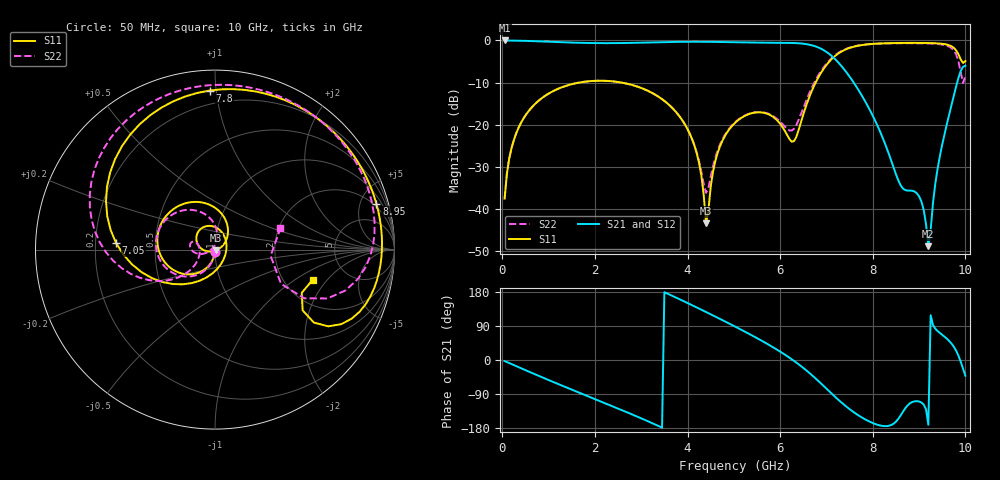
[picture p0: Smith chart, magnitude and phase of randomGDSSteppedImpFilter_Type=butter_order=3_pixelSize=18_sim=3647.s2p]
! freq	dB(S11)	phase(S11)	dB(S12)	phase(S12)
!  dB(S21)	phase(S21)	dB(S22)	phase(S22)
!S-par simulation data
#  GHz  S  DB  R 50
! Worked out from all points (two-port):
!   200 points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, 50 MHz to 10 GHz, reference 50 ohm
!   highest |S21| = -0.01 dB at 50 MHz (marker M1); lowest = -48.8 dB at 9.2 GHz (marker M2)
!   |S21| within 3 dB of the highest: start of sweep to 7.035 GHz
!   lowest |S11| = -43.4 dB at 4.4 GHz (marker M3), VSWR 1.01, Z = 50.5 - j0.472 ohm
!   |S11| at or under -10 dB: start of sweep to 1.657 GHz; 2.577 GHz to 6.767 GHz (4.189 GHz wide, 89.7 % of centre)
!   |S22| runs from -37.6 to -0.7 dB; largest |S21 - S12| = 0
!   S11 on the Smith chart (normalised r, x): 50 MHz: 1.00, -0.03; 7.05 GHz: 0.29, +0.03; 7.8 GHz: 0.12, +0.96; 8.95 GHz: 1.66, +6.76; 10 GHz: 2.86, -1.43
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0.05  -37.53 -92.7  -0.01 -2.7  -0.01 -2.7  -37.57 -92.7
0.2  -25.52 -101.6  -0.03 -10.8  -0.03 -10.8  -25.51 -100.6
0.5  -17.79 -118.6  -0.10 -26.8  -0.10 -26.8  -17.79 -115.9
1.75  -9.83 173.8  -0.59 -90.6  -0.59 -90.6  -9.83 -176.3
3.4  -13.54 82.1  -0.43 -175.6  -0.43 -175.6  -13.56 107.1
4.1  -23.46 35.0  -0.31 144.5  -0.31 144.5  -23.41 80.3
4.3  -32.17 12.9  -0.31 132.7  -0.31 132.7  -31.23 91.0
4.4  -43.40 -43.8  -0.32 126.7  -0.32 126.7  -36.16 134.9
4.65  -26.67 -169.0  -0.36 111.5  -0.36 111.5  -26.10 -159.8
5.05  -19.30 158.4  -0.44 86.8  -0.44 86.8  -19.17 -170.1
5.65  -17.17 108.8  -0.53 47.5  -0.53 47.5  -17.09 164.8
6.3  -23.88 -25.0  -0.61 -2.4  -0.61 -2.4  -20.95 -163.7
6.7  -11.55 -133.0  -1.20 -41.5  -1.20 -41.5  -10.85 -144.8
7.05  -5.16 176.2  -3.13 -81.5  -3.13 -81.5  -4.89 -173.6
7.35  -2.48 137.8  -6.42 -115.0  -6.42 -115.0  -2.36 156.3
7.8  -1.04 91.9  -13.75 -154.2  -13.75 -154.2  -1.02 116.5
8.35  -0.65 50.9  -27.00 -173.6  -27.00 -173.6  -0.69 77.6
8.95  -0.59 15.9  -36.23 -108.6  -36.23 -108.6  -0.66 41.0
9.2  -0.62 2.6  -48.79 -170.9  -48.79 -170.9  -0.71 26.0
9.4  -0.70 -8.1  -30.39 76.3  -30.39 76.3  -0.84 13.1
9.8  -2.36 -34.1  -10.91 24.6  -10.91 24.6  -3.31 -23.5
10  -4.89 -17.2  -6.01 -41.7  -6.01 -41.7  -8.35 18.0
